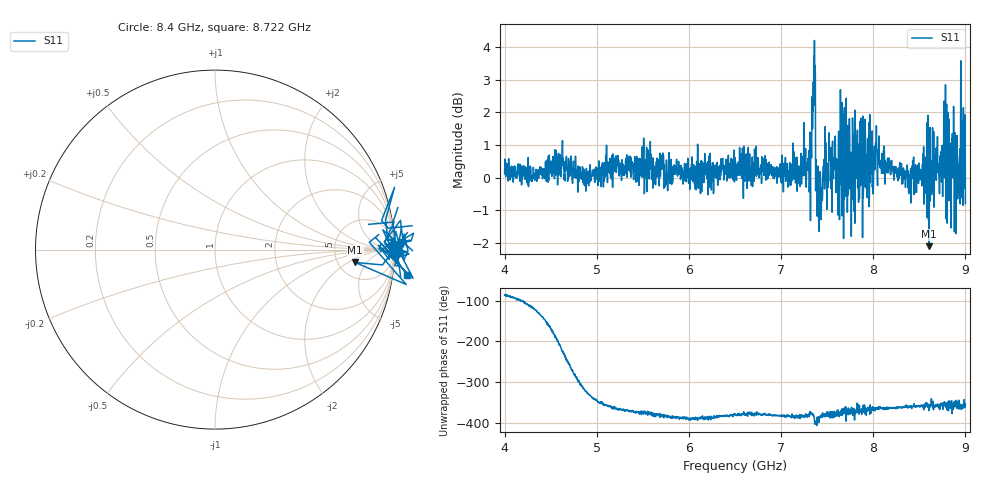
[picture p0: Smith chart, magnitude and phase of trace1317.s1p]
! Created with skrf 1.8.0 (http://scikit-rf.org).
# Hz S RI R 50.0
!freq ReS11 ImS11
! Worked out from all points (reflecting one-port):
!   1601 points, 4 GHz to 9 GHz, reference 50 ohm
!   lowest |S11| = -2.1 dB at 8.606 GHz (marker M1), VSWR 8.28, Z = 363 - j135 ohm
!   phase of S11 starts at -86 deg and turns -269 deg over the sweep
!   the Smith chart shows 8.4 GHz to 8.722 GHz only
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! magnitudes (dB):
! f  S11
! 4 GHz  0.1
! 4.625 GHz  0.9
! 4.894 GHz  0.2
! 5.25 GHz  0.4
! 5.875 GHz  0.0
! 6.5 GHz  0.3
! 7.125 GHz  0.4
! 7.294 GHz  0.2
! 7.328 GHz  0.9
! 7.347 GHz  2.0
! 7.362 GHz  4.2
! 7.4 GHz  0.4
! 7.412 GHz  -0.4
! 7.503 GHz  0.2
! 7.616 GHz  0.2
! 7.688 GHz  2.1
! 7.703 GHz  -0.6
! 7.75 GHz  -0.3
! 7.775 GHz  1.8
! 7.853 GHz  1.5
! 7.909 GHz  1.0
! 8.047 GHz  -0.2
! 8.375 GHz  -0.1
! 8.606 GHz  -2.1
! 8.788 GHz  -1.3
! 8.906 GHz  0.6
! 8.972 GHz  0.5
! 9 GHz  -0.8
